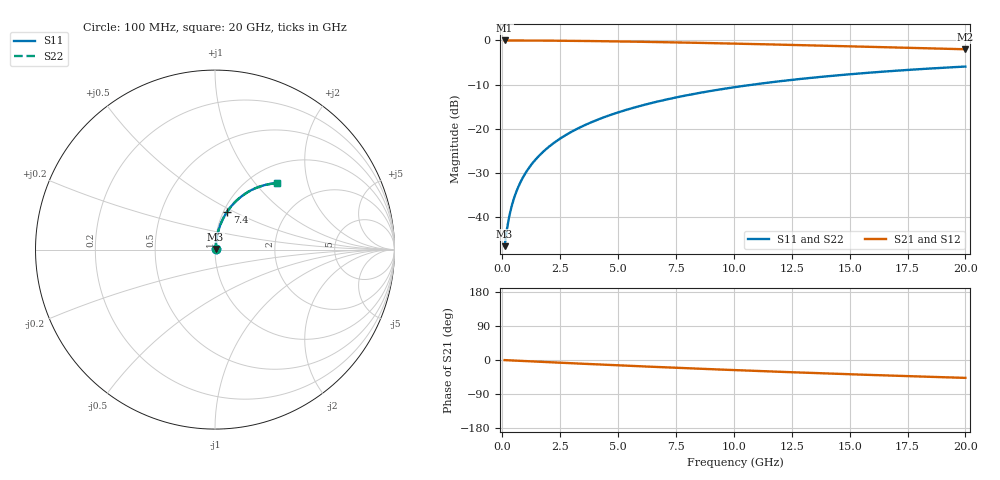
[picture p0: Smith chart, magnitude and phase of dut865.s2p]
! Touchstone file exported from HFSS 2024.1.0
!  File:  C:/UserFiles/LocalFiles/RDL_TSV_Batchsim/temp_RDL_bottom_865_1779864770.aedt
!  Generated:  02:55:41 PM May 27, 2026
!  Design:  RDL_bottom
!  Project:  temp_RDL_bottom_865_1779864770
!  Setup:  Setup1
!  Solution:  Sweep
! Variables:
!  dtsv = 10.80580581um
!  hbump = 3um
!  htsv = 80.46um
!  ldown = 607.78um
!  lrdl = 100um
!  p = 40
!  p1 = 58.96um
!  rhole = 1um
!  t = 450um
!  tdown = 4.51um
!  trdl = 3.915915916um
!  wdown = 14.28um
!  wrdl = 20um
# GHz S MA R 50.000000
! Terminal data exported
! Port[1] = RDL1_T1
! Port[2] = RDL1_T2
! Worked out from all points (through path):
!   200 points, 100 MHz to 20 GHz, reference 50 ohm
!   highest |S21| = -0.03 dB at 100 MHz (marker M1); lowest = -2.0 dB at 20 GHz (marker M2)
!   group delay of S21, straight-line fit = 6.54 ps
!   lowest |S11| = -46.6 dB at 100 MHz (marker M3), VSWR 1.01, Z = 50.3 + j0.323 ohm
!   |S11| at or under -10 dB: start of sweep to 10.85 GHz
!   |S22| runs from -46.6 to -5.9 dB; largest |S21 - S12| = 8e-15
!   S11 on the Smith chart (normalised r, x): 100 MHz: 1.01, +0.01; 7.4 GHz: 1.04, +0.46; 20 GHz: 1.31, +1.30
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0.1  0.004694 43.2  0.9966 -0.3  0.9966 -0.3  0.004694 43.2
! Gamma 0 0 0 0
! Port Impedance 50 0 50 0
0.2  0.007298 61.0  0.9965 -0.6  0.9965 -0.6  0.007298 61.0
0.3  0.0102 68.8  0.9963 -0.9  0.9963 -0.9  0.0102 68.8
0.4  0.01318 73.0  0.9962 -1.2  0.9962 -1.2  0.01318 73.0
0.5  0.0162 75.6  0.996 -1.5  0.996 -1.5  0.0162 75.6
0.6  0.01922 77.4  0.9959 -1.7  0.9959 -1.7  0.01922 77.4
0.8  0.02531 79.5  0.9955 -2.3  0.9955 -2.3  0.02531 79.5
1.1  0.03449 81.0  0.9948 -3.2  0.9948 -3.2  0.03449 81.0
1.5  0.04676 81.8  0.9937 -4.3  0.9937 -4.3  0.04676 81.8
1.8  0.05598 81.8  0.9926 -5.2  0.9926 -5.2  0.05598 81.8
2.1  0.06518 81.7  0.9914 -6.0  0.9914 -6.0  0.06518 81.7
2.7  0.08355 81.1  0.9884 -7.7  0.9884 -7.7  0.08355 81.1
3.5  0.1079 79.9  0.9836 -9.9  0.9836 -9.9  0.1079 79.8
4.2  0.1291 78.6  0.9785 -11.9  0.9785 -11.9  0.129 78.6
5  0.153 77.1  0.9719 -14.0  0.9719 -14.0  0.153 77.1
6.8  0.2057 73.4  0.9547 -18.7  0.9547 -18.7  0.2057 73.4
7.4  0.2229 72.1  0.9484 -20.3  0.9484 -20.3  0.2229 72.1
8.7  0.2592 69.4  0.9338 -23.5  0.9338 -23.5  0.2592 69.4
10.1  0.2968 66.4  0.9172 -26.8  0.9172 -26.8  0.2967 66.4
13.4  0.3778 59.5  0.8758 -34.2  0.8758 -34.2  0.3777 59.5
16.7  0.4473 53.0  0.8334 -41.0  0.8334 -41.0  0.4471 53.0
20  0.5052 47.1  0.7923 -47.2  0.7923 -47.2  0.505 47.1
